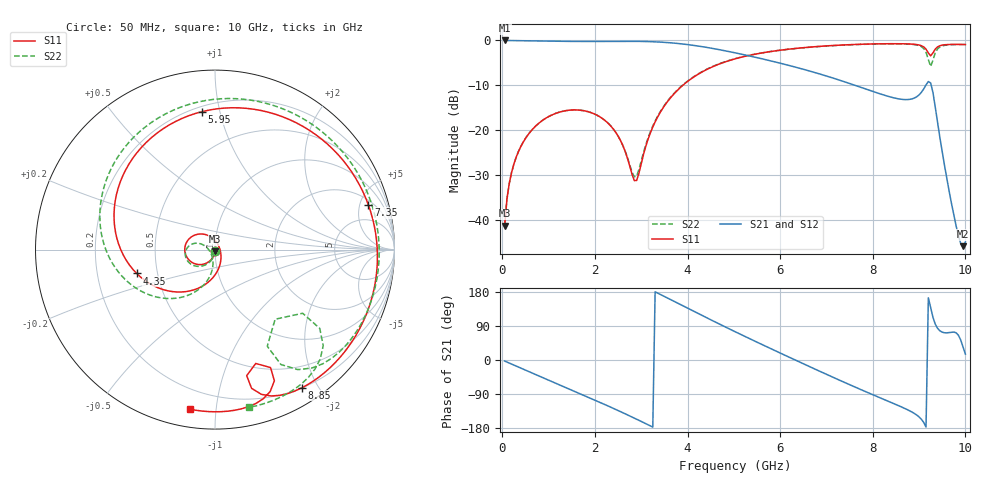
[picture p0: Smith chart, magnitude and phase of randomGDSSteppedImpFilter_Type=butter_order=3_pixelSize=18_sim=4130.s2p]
! freq	dB(S11)	phase(S11)	dB(S12)	phase(S12)
!  dB(S21)	phase(S21)	dB(S22)	phase(S22)
!S-par simulation data
#  GHz  S  DB  R 50
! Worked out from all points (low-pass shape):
!   200 points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, 50 MHz to 10 GHz, reference 50 ohm
!   highest |S21| = 0.00 dB at 50 MHz (marker M1); lowest = -45.8 dB at 9.95 GHz (marker M2)
!   |S21| within 3 dB of the highest: start of sweep to 5.139 GHz
!   lowest |S11| = -41.3 dB at 50 MHz (marker M3), VSWR 1.02, Z = 50 - j0.86 ohm
!   |S11| at or under -10 dB: start of sweep to 3.897 GHz
!   |S22| runs from -41.3 to -0.8 dB; largest |S21 - S12| = 0
!   S11 on the Smith chart (normalised r, x): 50 MHz: 1.00, -0.02; 4.35 GHz: 0.38, -0.13; 5.95 GHz: 0.23, +0.88; 7.35 GHz: 2.51, +6.00; 8.85 GHz: 0.20, -1.80; 10 GHz: 0.09, -0.85
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0.05  -41.30 -92.0  -0.00 -2.7  -0.00 -2.7  -41.29 -91.6
0.2  -29.43 -101.4  -0.02 -10.8  -0.02 -10.8  -29.43 -99.9
0.5  -21.84 -119.1  -0.06 -26.7  -0.06 -26.7  -21.83 -115.2
1.15  -16.26 -156.4  -0.18 -61.0  -0.18 -61.0  -16.25 -147.0
1.75  -15.64 168.5  -0.23 -92.5  -0.23 -92.5  -15.64 -174.9
2.4  -19.76 124.2  -0.20 -127.7  -0.20 -127.7  -19.77 159.8
2.85  -31.21 34.5  -0.20 -153.3  -0.20 -153.3  -30.39 -159.6
3.4  -16.21 -93.7  -0.36 173.8  -0.36 173.8  -16.06 -101.6
4.35  -6.82 -163.1  -1.44 115.3  -1.44 115.3  -6.75 -148.3
5.05  -4.03 150.9  -2.81 73.3  -2.81 73.3  -3.99 174.1
5.95  -2.25 95.3  -4.94 21.3  -4.94 21.3  -2.24 125.9
6.7  -1.44 51.7  -7.00 -21.1  -7.00 -21.1  -1.46 84.8
7.35  -1.01 16.2  -9.07 -57.0  -9.07 -57.0  -1.05 48.4
7.85  -0.82 -9.4  -10.82 -83.8  -10.82 -83.8  -0.85 20.3
8.35  -0.73 -33.6  -12.51 -109.7  -12.51 -109.7  -0.76 -7.4
8.85  -0.82 -57.7  -13.01 -137.6  -13.01 -137.6  -0.88 -36.1
9.1  -1.44 -72.2  -10.81 -164.8  -10.81 -164.8  -1.80 -55.4
9.25  -3.43 -70.3  -9.48 138.4  -9.48 138.4  -5.80 -49.2
9.4  -1.43 -68.8  -18.36 83.4  -18.36 83.4  -1.88 -41.6
9.75  -0.88 -87.9  -38.89 73.7  -38.89 73.7  -0.92 -65.5
9.95  -0.90 -96.8  -45.83 34.1  -45.83 34.1  -0.91 -75.4
10  -0.91 -99.0  -44.89 15.6  -44.89 15.6  -0.92 -77.7
